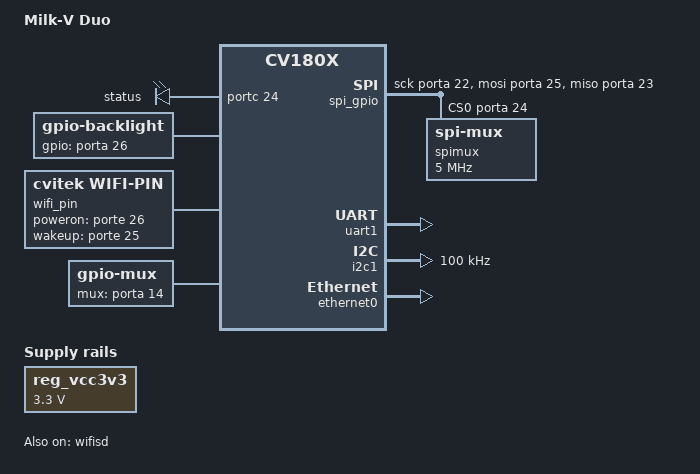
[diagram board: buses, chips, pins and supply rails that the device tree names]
/dts-v1/;
#include "cv180x_base_riscv.dtsi"
#include "cv180x_asic_sd.dtsi"
#include "cv180x_default_memmap.dtsi"

&mipi_rx{
	snsr-reset = <&portc 8 GPIO_ACTIVE_LOW>, <&portc 8 GPIO_ACTIVE_LOW>, <&portc 8 GPIO_ACTIVE_LOW>;
};

&uart1 {
	status = "okay";
};

&wifisd {
	status = "okay";
};

&i2c1 {
    status = "okay";
    clock-frequency = <100000>;
};

&ethernet0 {
	status = "okay";
	local-mac-address = [a4 51 29 00 00 b0];
};

/ {
	model = "Milk-V Duo";

	/delete-node/ spi0@04180000;
	/delete-node/ spi1@04190000;
	/delete-node/ spi2@041A0000;
	/delete-node/ spi3@041B0000;

	leds {
		compatible = "gpio-leds";
		status = "okay";

		status {
			label = "status";
			gpios = <&portc 24 GPIO_ACTIVE_HIGH>; /* PC24 */
			linux,default-trigger = "heartbeat";
			status = "okay";
		};
	};

	reg_vcc3v3: vcc3v3 {
		compatible = "regulator-fixed";
		regulator-name = "vcc3v3";
		regulator-min-microvolt = <3300000>;
		regulator-max-microvolt = <3300000>;
	};

	backlight: backlight {
		compatible = "gpio-backlight";
		gpios = <&porta 26 GPIO_ACTIVE_HIGH>; // PA26
		default-on;
	};

	wifi_pin {
		compatible = "cvitek,wifi-pin";
		poweron-gpio = <&porte 26 GPIO_ACTIVE_HIGH>;
		wakeup-gpio = <&porte 25 GPIO_ACTIVE_HIGH>;
	};

	mux: mux-controller {
        compatible = "gpio-mux";
        #mux-control-cells = <0>;

        mux-gpios = <&porta 14 GPIO_ACTIVE_HIGH>;
    };

	spi_gpio {
		compatible = "spi-gpio";
		status = "okay";
		sck-gpios = <&porta 22 GPIO_ACTIVE_HIGH>;
		mosi-gpios = <&porta 25 GPIO_ACTIVE_HIGH>;
		miso-gpios = <&porta 23 GPIO_ACTIVE_HIGH>;
		num-cs = <1>;
		cs-gpios = <&porta 24 GPIO_ACTIVE_HIGH>; // PA24 PA14
		#address-cells = <1>;
		#size-cells = <0>;

		spimux@0 {
			compatible = "spi-mux";
			reg = <0>;
			#address-cells = <1>;
			#size-cells = <0>;
			spi-max-frequency = <5000000>;

			mux-controls = <&mux>;

			display@0 {
				compatible = "ilitek,ili9341";
				reg = <0>;
				status = "okay";
				spi-max-frequency = <4000000>;
				rotation = <90>;
				fps = <30>;
				// spi-cpol;
				// spi-cpha;
				bgr;
				buswidth = <8>;

				dc = <&porta 27 GPIO_ACTIVE_HIGH>;
				reset = <&porte 4 GPIO_ACTIVE_HIGH>;

				debug = <0x0>;
				backlight = <&backlight>;
			};

			tsc2046@1 {
				reg = <1>;
				compatible = "ti,tsc2046";
				interrupt-parent = <&porta>;
				interrupts = <15 IRQ_TYPE_EDGE_FALLING>;	//PA15
				spi-max-frequency = <1000000>;
				pendown-gpio = <&porta 15 GPIO_ACTIVE_HIGH>;
				vcc-supply = <&reg_vcc3v3>;

				ti,x-min = /bits/ 16 <0>;
				ti,x-max = /bits/ 16 <320>;
				ti,y-min = /bits/ 16 <0>;
				ti,y-max = /bits/ 16 <240>;
				ti,x-plate-ohms = /bits/ 16 <40>;
				ti,pressure-max = /bits/ 16 <255>;

				wakeup-source;
				status = "okay";
			};
		};
	};
};

